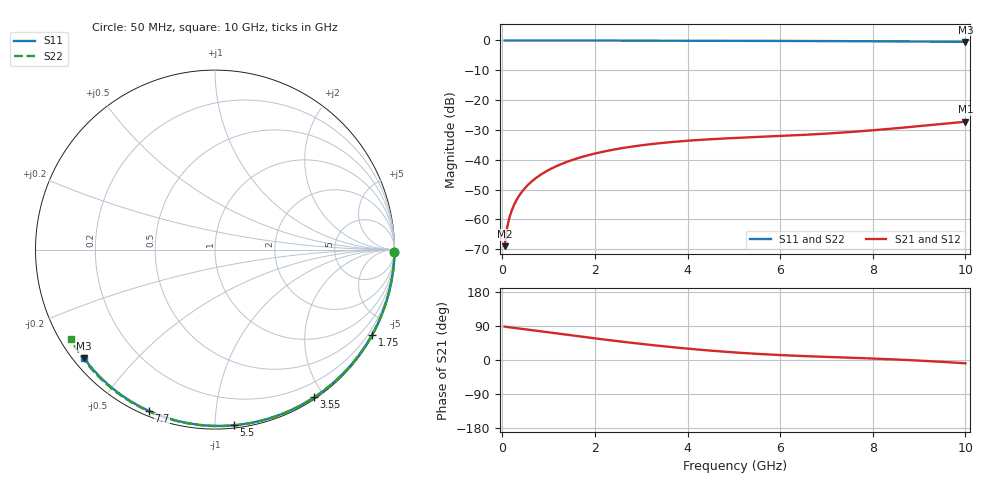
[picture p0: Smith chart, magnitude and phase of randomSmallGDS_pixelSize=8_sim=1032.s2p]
! freq	dB(S11)	phase(S11)	dB(S12)	phase(S12)
!  dB(S21)	phase(S21)	dB(S22)	phase(S22)
!S-par simulation data
#  GHz  S  DB  R 50
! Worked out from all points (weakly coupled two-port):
!   200 points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, 50 MHz to 10 GHz, reference 50 ohm
!   highest |S21| = -27.25 dB at 10 GHz (marker M1); lowest = -69.0 dB at 50 MHz (marker M2)
!   lowest |S11| = -0.5 dB at 10 GHz (marker M3), VSWR 37.14, Z = 1.52 - j18 ohm
!   |S11| at or under -10 dB: nowhere
!   |S22| runs from -0.5 to 0.0 dB; largest |S21 - S12| = 0
!   S11 on the Smith chart (normalised r, x): 50 MHz: open; 1.75 GHz: 0.03, -3.95; 3.55 GHz: 0.02, -1.88; 5.5 GHz: 0.02, -1.11; 7.7 GHz: 0.02, -0.67; 10 GHz: 0.03, -0.36
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0.05  -0.00 -0.8  -68.99 88.4  -68.99 88.4  -0.00 -0.9
0.1  -0.00 -1.7  -63.06 87.2  -63.06 87.2  -0.00 -1.8
0.15  -0.00 -2.5  -59.61 86.3  -59.61 86.3  -0.00 -2.6
0.2  -0.00 -3.3  -57.16 85.5  -57.16 85.5  -0.00 -3.5
0.25  -0.00 -4.1  -55.26 84.8  -55.26 84.8  -0.00 -4.4
0.35  -0.00 -5.8  -52.38 83.3  -52.38 83.3  -0.00 -6.1
0.5  -0.01 -8.2  -49.33 81.0  -49.33 81.0  -0.01 -8.8
0.7  -0.01 -11.5  -46.46 77.8  -46.46 77.8  -0.01 -12.2
1  -0.02 -16.4  -43.45 72.9  -43.45 72.9  -0.02 -17.4
1.35  -0.03 -22.0  -40.99 67.3  -40.99 67.3  -0.03 -23.4
1.75  -0.04 -28.4  -38.94 60.9  -38.94 60.9  -0.04 -30.2
2.5  -0.05 -40.2  -36.34 49.6  -36.34 49.6  -0.06 -42.7
3.4  -0.07 -53.9  -34.45 37.2  -34.45 37.2  -0.08 -57.2
3.55  -0.08 -56.1  -34.22 35.3  -34.22 35.3  -0.08 -59.6
4.3  -0.10 -67.1  -33.32 26.8  -33.32 26.8  -0.10 -71.1
5.05  -0.12 -77.7  -32.68 19.7  -32.68 19.7  -0.13 -82.3
5.5  -0.14 -83.9  -32.37 16.2  -32.37 16.2  -0.14 -88.7
6.7  -0.19 -99.7  -31.51 9.5  -31.51 9.5  -0.20 -105.4
7.7  -0.26 -112.4  -30.50 5.2  -30.50 5.2  -0.27 -118.6
8.35  -0.30 -120.4  -29.66 2.2  -29.66 2.2  -0.32 -127.1
9.2  -0.38 -130.7  -28.44 -2.9  -28.44 -2.9  -0.40 -137.9
10  -0.47 -140.4  -27.25 -8.7  -27.25 -8.7  -0.49 -148.1
